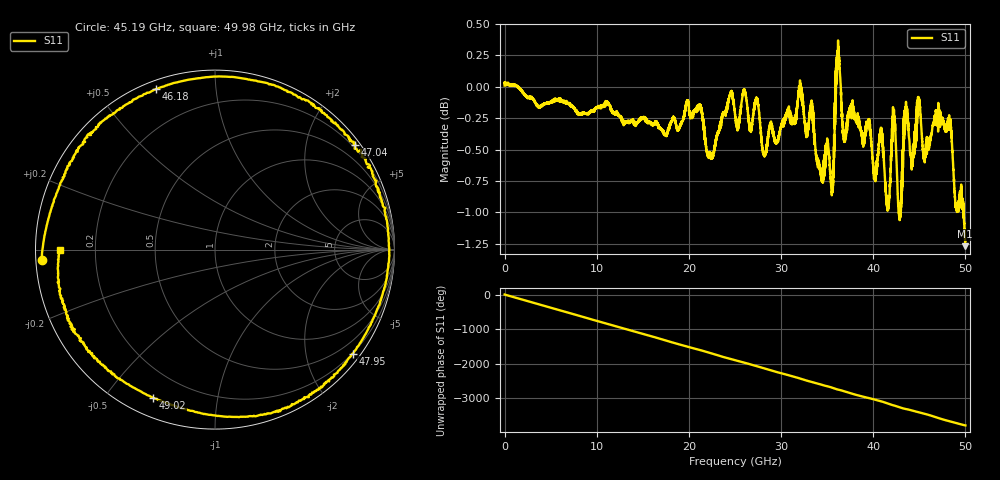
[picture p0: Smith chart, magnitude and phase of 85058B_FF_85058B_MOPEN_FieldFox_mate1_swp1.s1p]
!Created with skrf (http://scikit-rf.org).
# Hz S RI R 50.0
!freq ReS11 ImS11
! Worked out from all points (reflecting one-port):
!   10001 points, 300 kHz to 50 GHz, reference 50 ohm
!   lowest |S11| = -1.3 dB at 49.99 GHz (marker M1), VSWR 13.70, Z = 3.65 + j0.243 ohm
!   phase of S11 starts at 0 deg and turns -3781 deg over the sweep
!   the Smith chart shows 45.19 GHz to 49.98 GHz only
!   S11 on the Smith chart (normalised r, x): 45.19 GHz: 0.02, -0.03; 46.18 GHz: 0.04, +0.70; 47.04 GHz: 0.13, +3.02; 47.95 GHz: 0.20, -2.97; 49.02 GHz: 0.08, -0.66; 49.98 GHz: 0.07, -0.00
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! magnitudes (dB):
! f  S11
! 300 kHz  0.0
! 6.25 GHz  -0.1
! 12.5 GHz  -0.2
! 18.75 GHz  -0.3
! 21.14 GHz  -0.2
! 22.39 GHz  -0.6
! 25 GHz  -0.2
! 28.19 GHz  -0.6
! 31.25 GHz  -0.3
! 32.1 GHz  0.0
! 35.48 GHz  -0.8
! 36.18 GHz  0.3
! 36.84 GHz  -0.4
! 37.5 GHz  -0.2
! 40.19 GHz  -0.7
! 40.85 GHz  -0.4
! 41.56 GHz  -1.0
! 42.26 GHz  -0.2
! 42.86 GHz  -1.0
! 43.75 GHz  -0.3
! 45.19 GHz  -0.3
! 46.18 GHz  -0.4
! 47.04 GHz  -0.2
! 47.95 GHz  -0.3
! 49.02 GHz  -1.0
! 49.98 GHz  -1.3
! 49.99 GHz  -1.3
! 50 GHz  -1.3
